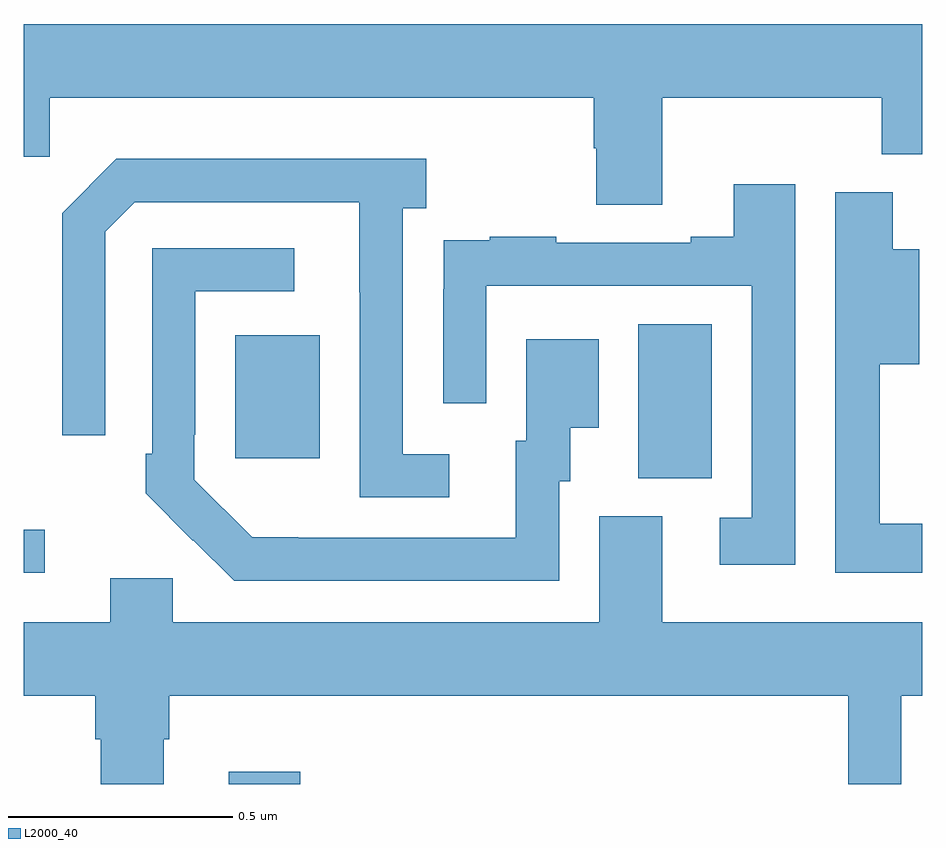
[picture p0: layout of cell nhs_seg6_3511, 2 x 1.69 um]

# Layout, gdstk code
import gdstk
lib = gdstk.Library(unit=1e-6, precision=1e-09)
def R(c, l, rs):  # rectangles x0, y0, x1, y1
    for r in rs: c.add(gdstk.rectangle(r[:2], r[2:], *l))
def P(c, l, *ps):  # polygons
    for p in ps: c.add(gdstk.Polygon(p, *l))
L2000_40 = (2000, 40)

nhs_seg6_3511 = lib.new_cell('nhs_seg6_3511')
R(nhs_seg6_3511, L2000_40, [(158.456,920.5,158.615,920.527), (158,920.97,158.047,921.066), (159.368,921.181,159.532,921.524), (158.471,921.225,158.659,921.499)])
P(nhs_seg6_3511, L2000_40, [(159.421,922.028),(159.91,922.028),(159.91,921.902),(160,921.902),(160,922.192),(158,922.192),(158,921.897),(158.058,921.897),(158.058,922.028),(159.269,922.028),(159.269,921.915),(159.274,921.915),(159.274,921.79),(159.421,921.79)],
  [(158.947,921.234),(158.844,921.234),(158.844,921.782),(158.896,921.782),(158.896,921.892),(158.206,921.892),(158.085,921.771),(158.085,921.276),(158.181,921.276),(158.181,921.729),(158.247,921.795),(158.747,921.795),(158.747,921.595),(158.748,921.595),(158.748,921.138),(158.947,921.138)],
  [(159.717,921.835),(159.581,921.835),(159.581,921.718),(159.485,921.718),(159.485,921.705),(159.185,921.705),(159.185,921.718),(159.037,921.718),(159.037,921.711),(158.935,921.711),(158.935,921.602),(158.934,921.602),(158.934,921.348),(159.03,921.348),(159.03,921.609),(159.621,921.609),(159.621,921.093),(159.549,921.093),(159.549,920.988),(159.717,920.988)],
  [(160,921.079),(159.905,921.079),(159.905,921.434),(159.994,921.434),(159.994,921.691),(159.934,921.691),(159.934,921.817),(159.807,921.817),(159.807,920.97),(160,920.97)],
  [(159.192,921.174),(159.217,921.174),(159.217,921.293),(159.28,921.293),(159.28,921.49),(159.119,921.49),(159.119,921.264),(159.095,921.264),(159.095,921.048),(158.611,921.048),(158.611,921.049),(158.508,921.049),(158.379,921.177),(158.379,921.277),(158.382,921.277),(158.382,921.597),(158.602,921.597),(158.602,921.693),(158.286,921.693),(158.286,921.235),(158.271,921.235),(158.271,921.147),(158.376,921.042),(158.377,921.043),(158.468,920.952),(159.192,920.952)],
  [(158.311,920.6),(158.324,920.6),(158.324,920.696),(159.835,920.696),(159.835,920.5),(159.953,920.5),(159.953,920.696),(160,920.696),(160,920.86),(159.421,920.86),(159.421,921.096),(159.281,921.096),(159.281,920.86),(158.331,920.86),(158.331,920.958),(158.192,920.958),(158.192,920.86),(158,920.86),(158,920.696),(158.159,920.696),(158.159,920.6),(158.171,920.6),(158.171,920.5),(158.311,920.5)])

lib.write_gds('nhs_seg6_3511.gds')
